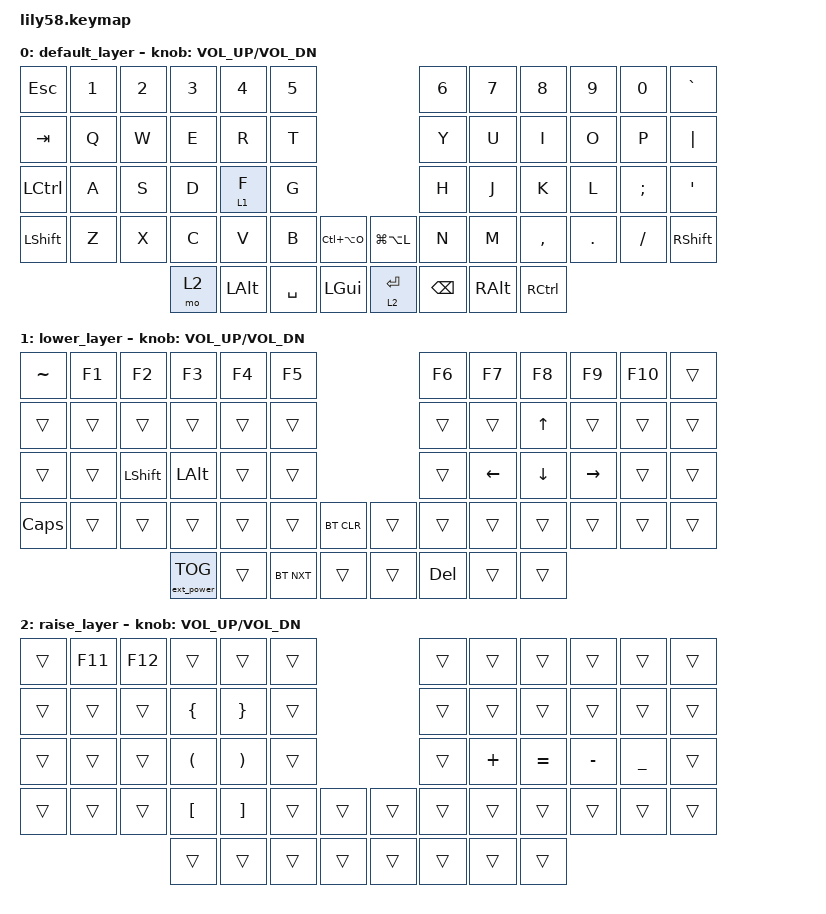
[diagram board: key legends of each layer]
/*
 * Copyright (c) 2020 The ZMK Contributors
 *
 * SPDX-License-Identifier: MIT
 */

#include <behaviors.dtsi>
#include <dt-bindings/zmk/bt.h>
#include <dt-bindings/zmk/ext_power.h>
#include <dt-bindings/zmk/keys.h>

/ {
    keymap {
        compatible = "zmk,keymap";

        default_layer {
            // ------------------------------------------------------------------------------------------------------------
            // |  ESC  |  1  |  2  |  3   |  4   |  5   |                   |  6   |  7    |  8    |  9   |   0   |   `   |
            // |  TAB  |  Q  |  W  |  E   |  R   |  T   |                   |  Y   |  U    |  I    |  O   |   P   |   -   |
            // |  CTRL |  A  |  S  |  D   |  F   |  G   |                   |  H   |  J    |  K    |  L   |   ;   |   '   |
            // | SHIFT |  Z  |  X  |  C   |  V   |  B   |   "["  |  |  "]"  |  N   |  M    |  ,    |  .   |   /   | SHIFT |
            //                     | ALT  | GUI  | LOWER|  SPACE |  | ENTER | RAISE| BSPC  | GUI   |

            bindings = <
&kp ESC    &kp N1  &kp N2  &kp N3  &kp N4        &kp N5                                     &kp N6         &kp N7         &kp N8             &kp N9   &kp N0    &kp GRAVE
&kp TAB    &kp Q   &kp W   &kp E   &kp R         &kp T                                      &kp Y          &kp U          &kp I              &kp O    &kp P     &kp PIPE
&kp LCTRL  &kp A   &kp S   &kp D   &lt 1 F       &kp G                                      &kp H          &kp J          &kp K              &kp L    &kp SEMI  &kp SQT
&kp LSHFT  &kp Z   &kp X   &kp C   &kp V         &kp B      &kp LC(LA(O))    &kp LG(LA(L))  &kp N          &kp M          &kp COMMA          &kp DOT  &kp FSLH  &kp RSHFT
                           &mo 2   &kp LEFT_ALT  &kp SPACE  &kp LEFT_GUI     &lt 2 ENTER    &kp BACKSPACE  &kp RIGHT_ALT  &kp RIGHT_CONTROL
            >;

            sensor-bindings = <&inc_dec_kp C_VOL_UP C_VOL_DN>;
        };

        lower_layer {
            // ------------------------------------------------------------------------------------------------------------
            // | BTCLR | BT1 | BT2 |  BT3 |  BT4 |  BT5 |                   |      |       |       |      |       |       |
            // |  F1   |  F2 |  F3 |  F4  |  F5  |  F6  |                   |  F7  |  F8   |  F9   |  F10 |  F11  |  F12  |
            // |   `   |  !  |  @  |  #   |  $   |  %   |                   |  ^   |  &    |  *    |  (   |   )   |   ~   |
            // |       |     |     |      |      |      |        |  |       |      |  _    |  +    |  {   |   }   |  "|"  |
            //                     |      |      |      |        |  |       |      |       |       |

            bindings = <
&kp TILDE  &kp F1  &kp F2          &kp F3             &kp F4  &kp F5                            &kp F6      &kp F7          &kp F8          &kp F9           &kp F10  &trans
&trans     &trans  &trans          &trans             &trans  &trans                            &trans      &trans          &kp UP_ARROW    &trans           &trans   &trans
&trans     &trans  &kp LEFT_SHIFT  &kp LEFT_ALT       &trans  &trans                            &trans      &kp LEFT_ARROW  &kp DOWN_ARROW  &kp RIGHT_ARROW  &trans   &trans
&kp CAPS   &trans  &trans          &trans             &trans  &trans      &bt BT_CLR    &trans  &trans      &trans          &trans          &trans           &trans   &trans
                                   &ext_power EP_TOG  &trans  &bt BT_NXT  &trans        &trans  &kp DELETE  &trans          &trans
            >;

            sensor-bindings = <&inc_dec_kp C_VOL_UP C_VOL_DN>;
        };

        raise_layer {
            // ------------------------------------------------------------------------------------------------------------
            // |       |     |     |      |      |      |                   |      |       |       |      |       |       |
            // |   `   |  1  |  2  |  3   |  4   |  5   |                   |  6   |   7   |   8   |  9   |   0   |       |
            // |   F1  |  F2 |  F3 |  F4  |  F5  |  F6  |                   |      |   <-  |   v   |  ^   |  ->   |       |
            // |   F7  |  F8 |  F9 |  F10 |  F11 |  F12 |        |  |       |  +   |   -   |   =   |  [   |   ]   |   \   |
            //                     |      |      |      |        |  |       |      |       |       |

            bindings = <
&trans  &kp F11  &kp F12  &trans                &trans                 &trans                    &trans  &trans    &trans     &trans     &trans          &trans
&trans  &trans   &trans   &kp LEFT_BRACE        &kp RIGHT_BRACE        &trans                    &trans  &trans    &trans     &trans     &trans          &trans
&trans  &trans   &trans   &kp LEFT_PARENTHESIS  &kp RIGHT_PARENTHESIS  &trans                    &trans  &kp PLUS  &kp EQUAL  &kp MINUS  &kp UNDERSCORE  &trans
&trans  &trans   &trans   &kp LEFT_BRACKET      &kp RIGHT_BRACKET      &trans  &trans    &trans  &trans  &trans    &trans     &trans     &trans          &trans
                          &trans                &trans                 &trans  &trans    &trans  &trans  &trans    &trans
            >;

            sensor-bindings = <&inc_dec_kp C_VOL_UP C_VOL_DN>;
        };
    };
};
